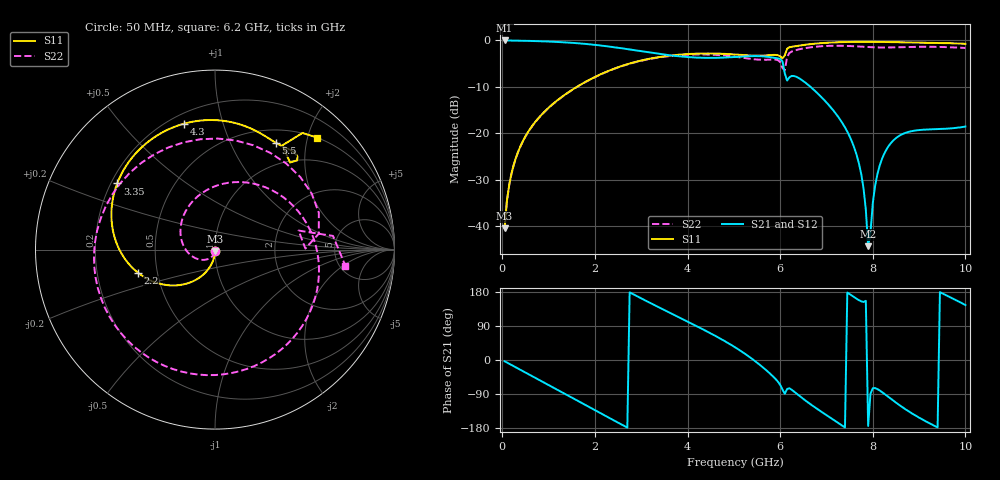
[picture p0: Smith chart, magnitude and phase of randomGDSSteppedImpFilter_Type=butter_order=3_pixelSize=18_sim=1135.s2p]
! freq	dB(S11)	phase(S11)	dB(S12)	phase(S12)
!  dB(S21)	phase(S21)	dB(S22)	phase(S22)
!S-par simulation data
#  GHz  S  DB  R 50
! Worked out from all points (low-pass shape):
!   200 points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, 50 MHz to 10 GHz, reference 50 ohm
!   highest |S21| = -0.01 dB at 50 MHz (marker M1); lowest = -44.3 dB at 7.9 GHz (marker M2)
!   |S21| within 3 dB of the highest: start of sweep to 3.464 GHz
!   lowest |S11| = -40.5 dB at 50 MHz (marker M3), VSWR 1.02, Z = 50 - j0.948 ohm
!   |S11| at or under -10 dB: start of sweep to 1.61 GHz
!   |S22| runs from -40.5 to -1.1 dB; largest |S21 - S12| = 0
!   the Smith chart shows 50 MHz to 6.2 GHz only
!   S11 on the Smith chart (normalised r, x): 50 MHz: 1.00, -0.02; 2.2 GHz: 0.39, -0.12; 3.35 GHz: 0.22, +0.29; 4.3 GHz: 0.26, +0.75; 5.5 GHz: 0.67, +1.50; 6.2 GHz: 0.50, +2.17
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0.05  -40.46 -90.5  -0.01 -3.3  -0.01 -3.3  -40.51 -94.3
0.2  -28.60 -95.7  -0.03 -13.2  -0.03 -13.2  -28.66 -110.3
0.45  -21.57 -103.7  -0.07 -29.6  -0.07 -29.6  -21.64 -136.3
1.1  -13.62 -123.8  -0.29 -72.4  -0.29 -72.4  -13.66 157.4
1.75  -9.18 -145.9  -0.71 -115.7  -0.71 -115.7  -9.21 93.0
2.2  -6.95 -163.5  -1.18 -145.6  -1.18 -145.6  -6.99 50.8
3.35  -3.64 145.9  -2.85 140.9  -2.85 140.9  -3.72 -44.8
3.4  -3.56 143.7  -2.92 137.8  -2.92 137.8  -3.65 -48.7
4.3  -2.82 103.9  -3.74 82.9  -3.74 82.9  -3.02 -117.4
5.05  -3.04 74.0  -3.55 31.7  -3.55 31.7  -3.54 170.8
5.5  -3.29 60.4  -3.37 -6.9  -3.37 -6.9  -4.12 106.2
6  -3.41 47.4  -3.99 -65.5  -3.99 -65.5  -4.66 8.7
6.2  -1.47 47.6  -7.93 -74.7  -7.93 -74.7  -2.70 -7.2
6.7  -0.75 22.4  -10.39 -120.6  -10.39 -120.6  -1.43 -88.2
7.35  -0.36 -4.2  -17.90 -173.9  -17.90 -173.9  -1.16 -170.6
7.75  -0.30 -19.1  -28.75 154.9  -28.75 154.9  -1.34 129.9
7.9  -0.30 -24.3  -44.31 -174.2  -44.31 -174.2  -1.42 104.2
8.1  -0.31 -31.1  -28.81 -76.7  -28.81 -76.7  -1.51 67.8
8.35  -0.35 -39.2  -22.64 -98.6  -22.64 -98.6  -1.52 22.6
8.65  -0.40 -48.4  -20.13 -125.4  -20.13 -125.4  -1.44 -24.7
9.05  -0.46 -59.9  -19.26 -155.5  -19.26 -155.5  -1.36 -73.6
10  -0.73 -85.4  -18.55 145.0  -18.55 145.0  -1.63 -156.2
